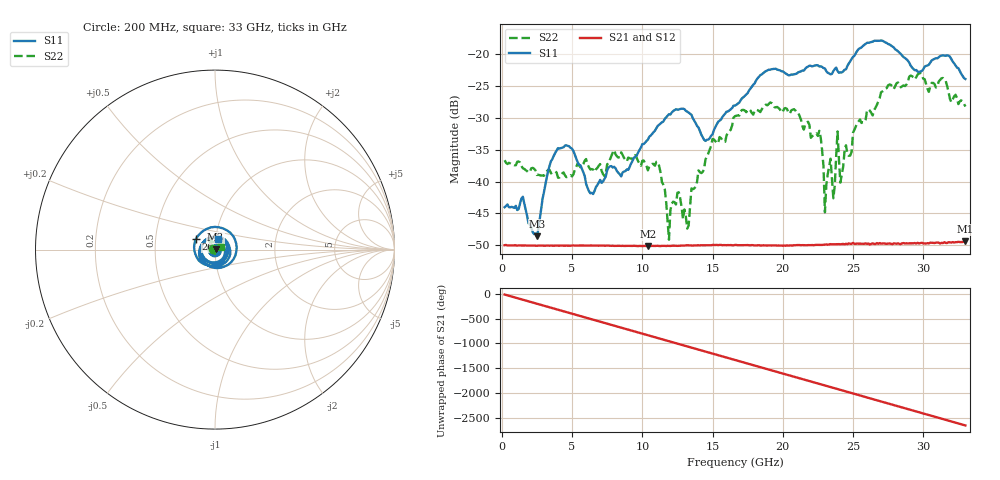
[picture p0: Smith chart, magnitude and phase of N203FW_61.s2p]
# GHZ S RI R 50
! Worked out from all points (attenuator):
!   329 points, 200 MHz to 33 GHz, reference 50 ohm
!   highest |S21| = -49.39 dB at 33 GHz (marker M1); lowest = -50.1 dB at 10.4 GHz (marker M2)
!   lowest |S11| = -48.6 dB at 2.5 GHz (marker M3), VSWR 1.01, Z = 50.3 + j0.144 ohm
!   |S11| at or under -10 dB: start of sweep to end of sweep
!   |S22| runs from -49.1 to -23.0 dB; largest |S21 - S12| = 8.8e-05
!   S11 on the Smith chart (normalised r, x): 200 MHz: 1.01, +0.00; 26 GHz: 0.80, +0.09; 33 GHz: 1.02, +0.13
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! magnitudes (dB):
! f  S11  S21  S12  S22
! 200 MHz  -44.0  -50.0  -49.9  -36.7
! 2.5 GHz  -48.6  -50.1  -50.0  -39.0
! 4 GHz  -34.8  -50.0  -50.0  -39.4
! 5.7 GHz  -38.0  -50.0  -50.0  -37.6
! 6.5 GHz  -42.0  -50.0  -50.0  -38.1
! 10.4 GHz  -33.5  -50.1  -50.1  -38.3
! 11.2 GHz  -31.1  -50.1  -50.1  -37.6
! 11.9 GHz  -29.5  -50.1  -50.0  -49.1
! 12.5 GHz  -28.7  -50.1  -50.1  -41.8
! 13.2 GHz  -29.1  -50.0  -50.0  -47.4
! 14 GHz  -31.6  -50.0  -50.0  -38.2
! 16.6 GHz  -28.1  -49.9  -49.9  -29.8
! 22.1 GHz  -22.0  -49.9  -49.9  -32.9
! 22.7 GHz  -22.0  -49.9  -49.9  -33.1
! 23 GHz  -22.3  -49.9  -49.8  -44.8
! 23.4 GHz  -23.2  -49.8  -49.8  -36.4
! 23.6 GHz  -22.7  -49.8  -49.8  -42.6
! 23.9 GHz  -22.7  -49.8  -49.8  -32.2
! 24.1 GHz  -22.9  -49.8  -49.8  -40.2
! 26 GHz  -18.3  -49.8  -49.7  -28.9
! 27.6 GHz  -18.6  -49.7  -49.7  -24.8
! 33 GHz  -24.0  -49.4  -49.4  -28.3
